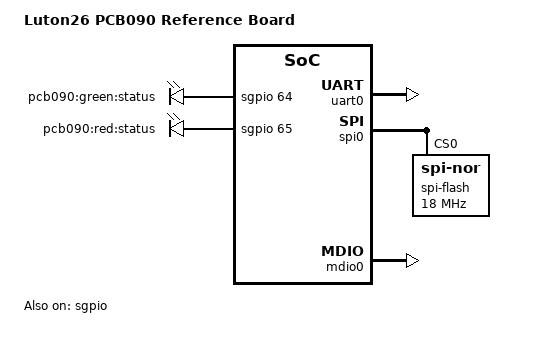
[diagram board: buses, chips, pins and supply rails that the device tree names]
// SPDX-License-Identifier: (GPL-2.0+ OR MIT)
/*
 * Copyright (c) 2018 Microsemi Corporation
 */

/dts-v1/;
#include "mscc,luton.dtsi"

/ {
	model = "Luton26 PCB090 Reference Board";
	compatible = "mscc,luton-pcb090", "mscc,luton";

	aliases {
		serial0 = &uart0;
		spi0 = &spi0;
	};

	chosen {
		stdout-path = "serial0:115200n8";
	};

	gpio-leds {
		compatible = "gpio-leds";

		status_green {
			label = "pcb090:green:status";
			gpios = <&sgpio 64 GPIO_ACTIVE_HIGH>; /* p0.2 */
			default-state = "on";
		};

		status_red {
			label = "pcb090:red:status";
			gpios = <&sgpio 65 GPIO_ACTIVE_HIGH>; /* p1.2 */
			default-state = "off";
		};
	};
};

&sgpio {
	status = "okay";
	gpio-ranges = <&sgpio 0 0 96>;
};

&uart0 {
	status = "okay";
};

&spi0 {
	status = "okay";
	spi-flash@0 {
		compatible = "jedec,spi-nor";
		spi-max-frequency = <18000000>; /* input clock */
		reg = <0>; /* CS0 */
		spi-cs-high;
	};
};

&mdio0 {
	status = "okay";
};

&port0 {
	phy-handle = <&phy0>;
};

&port1 {
	phy-handle = <&phy1>;
};

&port2 {
	phy-handle = <&phy2>;
};

&port3 {
	phy-handle = <&phy3>;
};

&port4 {
	phy-handle = <&phy4>;
};

&port5 {
	phy-handle = <&phy5>;
};

&port6 {
	phy-handle = <&phy6>;
};

&port7 {
	phy-handle = <&phy7>;
};

&port8 {
	phy-handle = <&phy8>;
};

&port9 {
	phy-handle = <&phy9>;
};

&port10 {
	phy-handle = <&phy10>;
};

&port11 {
	phy-handle = <&phy11>;
};
